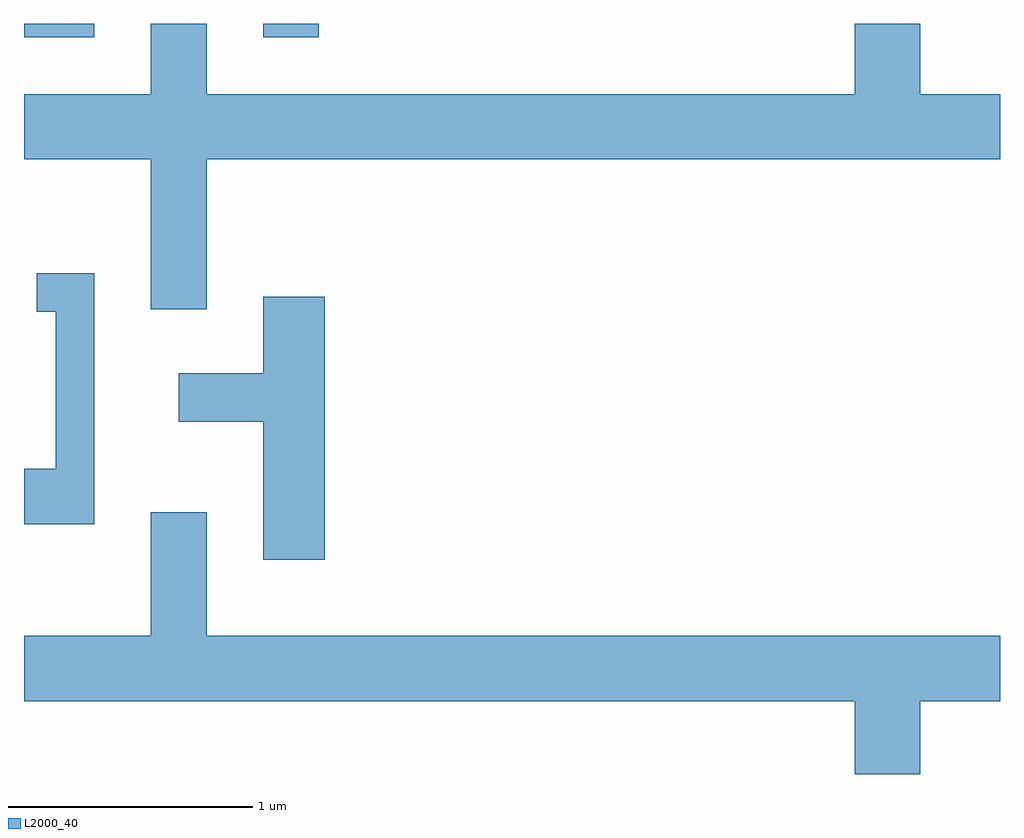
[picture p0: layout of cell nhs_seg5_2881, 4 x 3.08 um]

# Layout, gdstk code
import gdstk
lib = gdstk.Library(unit=1e-6, precision=1e-09)
def R(c, l, rs):  # rectangles x0, y0, x1, y1
    for r in rs: c.add(gdstk.rectangle(r[:2], r[2:], *l))
def P(c, l, *ps):  # polygons
    for p in ps: c.add(gdstk.Polygon(p, *l))
L2000_40 = (2000, 40)

nhs_seg5_2881 = lib.new_cell('nhs_seg5_2881')
R(nhs_seg5_2881, L2000_40, [(271.611,1404.016,271.899,1404.072), (272.591,1404.016,272.819,1404.072)])
P(nhs_seg5_2881, L2000_40, [(272.359,1403.516),(275.611,1403.516),(275.611,1403.784),(275.284,1403.784),(275.284,1404.072),(275.016,1404.072),(275.016,1403.784),(272.359,1403.784),(272.359,1404.072),(272.131,1404.072),(272.131,1403.784),(271.611,1403.784),(271.611,1403.516),(272.131,1403.516),(272.131,1402.901),(272.359,1402.901)],
  [(271.899,1403.049),(271.663,1403.049),(271.663,1402.891),(271.741,1402.891),(271.741,1402.249),(271.611,1402.249),(271.611,1402.021),(271.899,1402.021)],
  [(272.844,1402.954),(272.591,1402.954),(272.591,1402.639),(272.246,1402.639),(272.246,1402.441),(272.591,1402.441),(272.591,1401.876),(272.844,1401.876)],
  [(275.284,1401.296),(275.611,1401.296),(275.611,1401.564),(272.359,1401.564),(272.359,1402.069),(272.131,1402.069),(272.131,1401.564),(271.611,1401.564),(271.611,1401.296),(275.016,1401.296),(275.016,1400.996),(275.284,1400.996)])

lib.write_gds('nhs_seg5_2881.gds')
